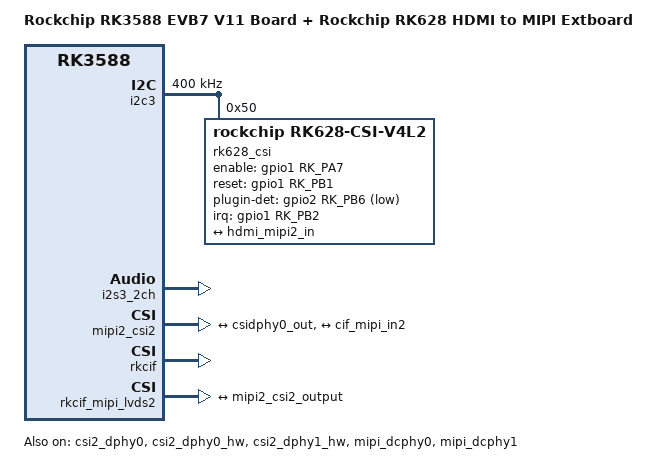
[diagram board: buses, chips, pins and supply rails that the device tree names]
// SPDX-License-Identifier: (GPL-2.0+ OR MIT)
/*
 * Copyright (c) 2022 Rockchip Electronics Co., Ltd.
 *
 */
/dts-v1/;

#include "rk3588-evb7-v11.dtsi"
#include "rk3588-android.dtsi"

/ {
	model = "Rockchip RK3588 EVB7 V11 Board + Rockchip RK628 HDMI to MIPI Extboard";
	compatible = "rockchip,rk3588-evb7-v11", "rockchip,rk3588";

	rk628_dc: rk628-dc {
		compatible = "rockchip,dummy-codec";
		#sound-dai-cells = <0>;
	};

	rk628-sound {
		compatible = "simple-audio-card";
		simple-audio-card,format = "i2s";
		simple-audio-card,name = "rockchip,rk628hdmiin";
		simple-audio-card,bitclock-master = <&dailink0_master>;
		simple-audio-card,frame-master = <&dailink0_master>;
		status = "okay";
		simple-audio-card,cpu {
			sound-dai = <&i2s3_2ch>;
		};
		dailink0_master: simple-audio-card,codec {
			sound-dai = <&rk628_dc>;
		};
	};

	vcc_mipicsi0: vcc-mipicsi0-regulator {
		/delete-property/ gpio;
		/delete-property/ pinctrl-0;
	};

	vcc_mipicsi1: vcc-mipicsi1-regulator {
		/delete-property/ gpio;
		/delete-property/ pinctrl-0;
	};

	vcc_mipidcphy0: vcc-mipidcphy0-regulator {
		/delete-property/ gpio;
		/delete-property/ pinctrl-0;
	};
};

&csi2_dphy0 {
	status = "okay";

	ports {
		#address-cells = <1>;
		#size-cells = <0>;
		port@0 {
			reg = <0>;
			#address-cells = <1>;
			#size-cells = <0>;

			hdmi_mipi2_in: endpoint@1 {
				reg = <1>;
				remote-endpoint = <&hdmiin_out1>;
				data-lanes = <1 2 3 4>;
			};
		};
		port@1 {
			reg = <1>;
			#address-cells = <1>;
			#size-cells = <0>;

			csidphy0_out: endpoint@0 {
				reg = <0>;
				remote-endpoint = <&mipi2_csi2_input>;
			};
		};
	};
};

&csi2_dphy0_hw {
	status = "okay";
};

&csi2_dphy1_hw {
	status = "okay";
};

&i2c3 {
	status = "okay";
	clock-frequency = <400000>;

	rk628_csi: rk628_csi@50 {
		reg = <0x50>;
		compatible = "rockchip,rk628-csi-v4l2";
		status = "okay";
		power-domains = <&power RK3588_PD_VI>;
		pinctrl-names = "default";
		pinctrl-0 = <&rk628_pin>;
		interrupt-parent = <&gpio1>;
		interrupts = <RK_PB2 IRQ_TYPE_LEVEL_HIGH>;
		enable-gpios = <&gpio1 RK_PA7 GPIO_ACTIVE_HIGH>;
		reset-gpios = <&gpio1 RK_PB1 GPIO_ACTIVE_HIGH>;
		plugin-det-gpios = <&gpio2 RK_PB6 GPIO_ACTIVE_LOW>;
		continues-clk = <1>;

		rockchip,camera-module-index = <0>;
		rockchip,camera-module-facing = "back";
		rockchip,camera-module-name = "HDMI-MIPI2";
		rockchip,camera-module-lens-name = "RK628-CSI";

		multi-dev-info {
			dev-idx-l = <2>;
			dev-idx-r = <4>;
			combine-idx = <2>;
			pixel-offset = <0>;
			dev-num = <2>;
		};

		port {
			hdmiin_out1: endpoint {
				remote-endpoint = <&hdmi_mipi2_in>;
				data-lanes = <1 2 3 4>;
			};
		};
	};
};

&i2s3_2ch {
	rockchip,capture-only;
	rockchip,i2s-rx-wait-time-ms = <50>;
	status = "okay";
};

&mipi_dcphy0 {
	status = "okay";
};

&mipi_dcphy1 {
	status = "okay";
};

&mipi2_csi2 {
	status = "okay";

	ports {
		#address-cells = <1>;
		#size-cells = <0>;

		port@0 {
			reg = <0>;
			#address-cells = <1>;
			#size-cells = <0>;

			mipi2_csi2_input: endpoint@1 {
				reg = <1>;
				remote-endpoint = <&csidphy0_out>;
			};
		};

		port@1 {
			reg = <1>;
			#address-cells = <1>;
			#size-cells = <0>;

			mipi2_csi2_output: endpoint@0 {
				reg = <0>;
				remote-endpoint = <&cif_mipi_in2>;
			};
		};
	};
};

&rkcif {
	status = "okay";
};

&rkcif_mipi_lvds2 {
	status = "okay";

	port {
		cif_mipi_in2: endpoint {
			remote-endpoint = <&mipi2_csi2_output>;
		};
	};
};

&rkcif_mmu {
	status = "okay";
};

&pinctrl {
	hdmiin {
		rk628_pin: rk628-pin {
			rockchip,pins = <1 RK_PB2 RK_FUNC_GPIO &pcfg_pull_none>,
					<1 RK_PA7 RK_FUNC_GPIO &pcfg_pull_none>,
					<1 RK_PB1 RK_FUNC_GPIO &pcfg_pull_none>,
					<2 RK_PB6 RK_FUNC_GPIO &pcfg_pull_none>;
		};
	};
};
